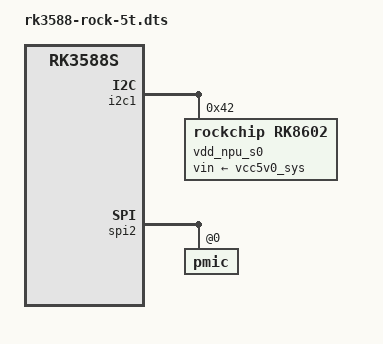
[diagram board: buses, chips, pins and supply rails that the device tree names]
// SPDX-License-Identifier: (GPL-2.0+ OR MIT)

/dts-v1/;

#include <rockchip/rk3588-rock-5t.dts>
#include "rk3588s-ip.dtsi"
#include "rk3588s-ip-supply.dtsi"

#include "rk3588-ramoops.dtsi"

&i2c1 {
	pinctrl-names = "default";
	pinctrl-0 = <&i2c1m2_xfer>;
	status = "okay";

	vdd_npu_s0: regulator@42 {
		compatible = "rockchip,rk8602";
		reg = <0x42>;
		fcs,suspend-voltage-selector = <1>;
		regulator-name = "vdd_npu_s0";
		regulator-boot-on;
		regulator-min-microvolt = <550000>;
		regulator-max-microvolt = <950000>;
		regulator-ramp-delay = <2300>;
		vin-supply = <&vcc5v0_sys>;

		regulator-state-mem {
			regulator-off-in-suspend;
		};
	};
};

&spi2 {
	pmic@0 {
		/* 0: restart PMU;
		 * 1: reset all the power off reset registers,
		 *    forcing the state to switch to ACTIVE mode;
		 * 2: Reset all the power off reset registers,
		 *    forcing the state to switch to ACTIVE mode,
		 *    and simultaneously pull down the RESETB PIN for 5mS before releasing
		 */
		// pmic-reset-func = <1>;
		rockchip,reset-mode = <1>;
	};
};
